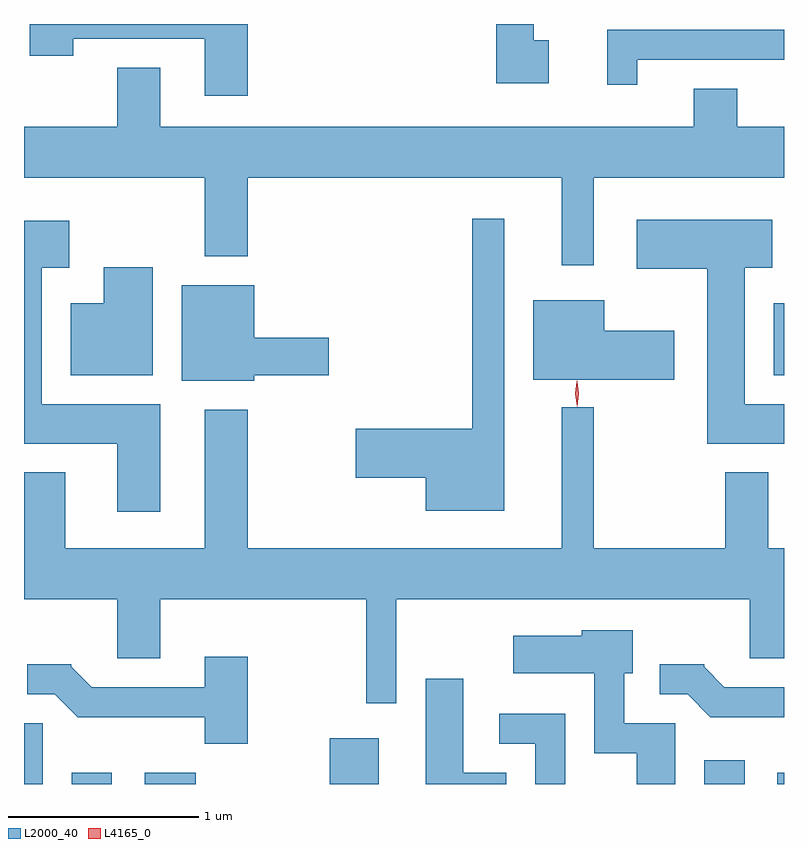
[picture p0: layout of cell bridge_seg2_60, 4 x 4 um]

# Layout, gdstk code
import gdstk
lib = gdstk.Library(unit=1e-6, precision=1e-09)
def R(c, l, rs):  # rectangles x0, y0, x1, y1
    for r in rs: c.add(gdstk.rectangle(r[:2], r[2:], *l))
def P(c, l, *ps):  # polygons
    for p in ps: c.add(gdstk.Polygon(p, *l))
L2000_40 = (2000, 40)
L4165_0 = (4165, 0)

bridge_seg2_60 = lib.new_cell('bridge_seg2_60')
R(bridge_seg2_60, L2000_40, [(1107.841,1100.624,1107.939,1100.944), (1108.091,1100.624,1108.304,1100.684), (1108.476,1100.624,1108.744,1100.684), (1109.451,1100.624,1109.709,1100.864), (1111.421,1100.624,1111.634,1100.749), (1111.806,1100.624,1111.841,1100.684), (1111.786,1102.776,1111.841,1103.154)])
P(bridge_seg2_60, L2000_40, [(1109.019,1104.624),(1107.871,1104.624),(1107.871,1104.456),(1108.099,1104.456),(1108.099,1104.546),(1108.791,1104.546),(1108.791,1104.246),(1109.019,1104.246)],
  [(1110.604,1104.539),(1110.524,1104.539),(1110.524,1104.624),(1110.326,1104.624),(1110.326,1104.311),(1110.604,1104.311)],
  [(1111.069,1104.436),(1111.841,1104.436),(1111.841,1104.594),(1110.911,1104.594),(1110.911,1104.303),(1111.069,1104.303)],
  [(1110.839,1103.816),(1111.841,1103.816),(1111.841,1104.084),(1111.594,1104.084),(1111.594,1104.284),(1111.366,1104.284),(1111.366,1104.084),(1108.559,1104.084),(1108.559,1104.394),(1108.331,1104.394),(1108.331,1104.084),(1107.841,1104.084),(1107.841,1103.816),(1108.791,1103.816),(1108.791,1103.401),(1109.019,1103.401),(1109.019,1103.816),(1110.671,1103.816),(1110.671,1103.353),(1110.839,1103.353)],
  [(1110.369,1103.598),(1110.201,1103.598),(1110.201,1102.494),(1109.586,1102.494),(1109.586,1102.236),(1109.956,1102.236),(1109.956,1102.061),(1110.369,1102.061)],
  [(1111.841,1102.624),(1111.634,1102.624),(1111.634,1103.341),(1111.779,1103.341),(1111.779,1103.594),(1111.066,1103.594),(1111.066,1103.336),(1111.436,1103.336),(1111.436,1102.416),(1111.841,1102.416)],
  [(1108.559,1102.624),(1107.934,1102.624),(1107.934,1103.341),(1108.079,1103.341),(1108.079,1103.589),(1107.841,1103.589),(1107.841,1102.416),(1108.331,1102.416),(1108.331,1102.056),(1108.559,1102.056)],
  [(1108.519,1103.344),(1108.261,1103.344),(1108.261,1103.154),(1108.086,1103.154),(1108.086,1102.776),(1108.519,1102.776)],
  [(1109.054,1102.776),(1109.444,1102.776),(1109.444,1102.974),(1109.054,1102.974),(1109.054,1103.249),(1108.671,1103.249),(1108.671,1102.746),(1109.054,1102.746)],
  [(1111.264,1103.009),(1110.894,1103.009),(1110.894,1103.169),(1110.521,1103.169),(1110.521,1102.751),(1111.264,1102.751)],
  [(1109.799,1101.596),(1111.661,1101.596),(1111.661,1101.286),(1111.841,1101.286),(1111.841,1101.864),(1111.759,1101.864),(1111.759,1102.264),(1111.531,1102.264),(1111.531,1101.864),(1110.839,1101.864),(1110.839,1102.608),(1110.671,1102.608),(1110.671,1101.864),(1109.019,1101.864),(1109.019,1102.594),(1108.791,1102.594),(1108.791,1101.864),(1108.059,1101.864),(1108.059,1102.264),(1107.841,1102.264),(1107.841,1101.596),(1108.331,1101.596),(1108.331,1101.286),(1108.559,1101.286),(1108.559,1101.596),(1109.641,1101.596),(1109.641,1101.048),(1109.799,1101.048)],
  [(1111.269,1100.944),(1110.999,1100.944),(1110.999,1101.206),(1111.044,1101.206),(1111.044,1101.434),(1110.776,1101.434),(1110.776,1101.404),(1110.416,1101.404),(1110.416,1101.206),(1110.841,1101.206),(1110.841,1100.786),(1111.066,1100.786),(1111.066,1100.624),(1111.269,1100.624)],
  [(1109.019,1101.294),(1108.791,1101.294),(1108.791,1101.134),(1108.197,1101.134),(1108.09,1101.241),(1108.09,1101.254),(1107.858,1101.254),(1107.858,1101.096),(1108.004,1101.096),(1108.124,1100.976),(1108.791,1100.976),(1108.791,1100.836),(1109.019,1100.836)],
  [(1111.841,1101.134),(1111.527,1101.134),(1111.42,1101.241),(1111.42,1101.254),(1111.188,1101.254),(1111.188,1101.096),(1111.334,1101.096),(1111.454,1100.976),(1111.841,1100.976)],
  [(1110.379,1100.684),(1110.154,1100.684),(1110.154,1101.179),(1109.956,1101.179),(1109.956,1100.624),(1110.379,1100.624)],
  [(1110.689,1100.994),(1110.343,1100.994),(1110.343,1100.836),(1110.531,1100.836),(1110.531,1100.624),(1110.689,1100.624)])
P(bridge_seg2_60, L4165_0, [(1110.752,1102.61),(1110.752,1102.61),(1110.742,1102.678),(1110.751,1102.745),(1110.752,1102.746),(1110.752,1102.745),(1110.762,1102.678),(1110.753,1102.61)],
  [(1110.752,1102.613),(1110.752,1102.613),(1110.742,1102.676),(1110.752,1102.74),(1110.752,1102.74),(1110.752,1102.74),(1110.762,1102.676),(1110.753,1102.613)])

lib.write_gds('bridge_seg2_60.gds')
